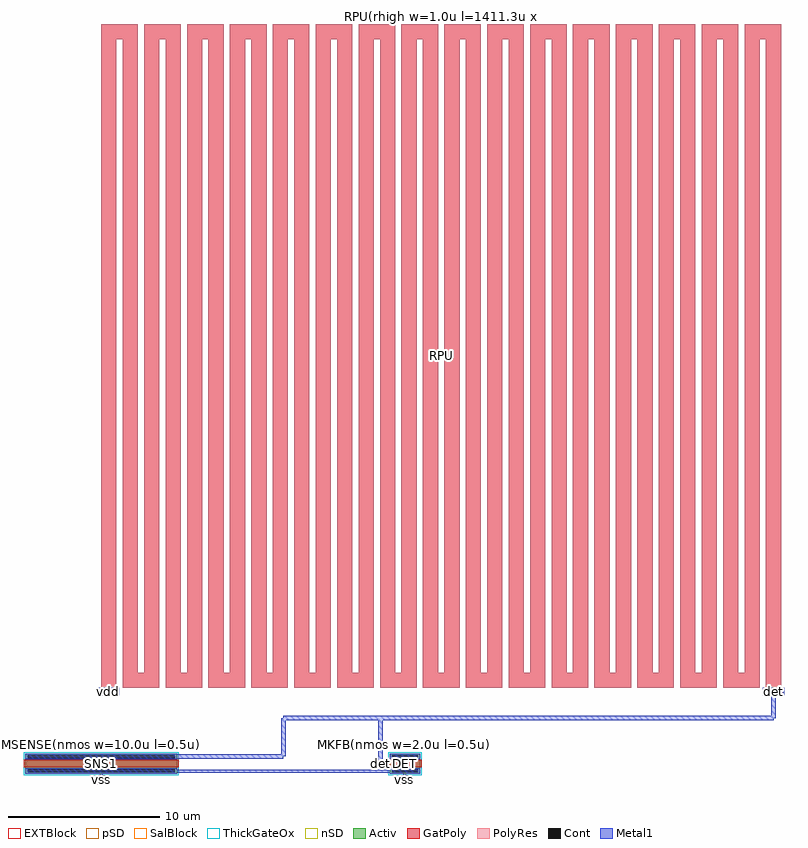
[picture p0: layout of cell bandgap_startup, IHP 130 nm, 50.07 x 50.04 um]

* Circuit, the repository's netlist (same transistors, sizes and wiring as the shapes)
** sch_path: /Users/rwalters/GitHub/sg13g2-bandgap/.loom/worktrees/issue-24/design/bandgap_startup.sch
**.subckt bandgap_startup vdd vss sns1 fb
*.iopin vdd
*.iopin vss
*.iopin sns1
*.iopin fb
XRPU vdd det sub! rhigh w=1u l=1411.3u m=1 b=0
XMSENSE det sns1 vss vss sg13_hv_nmos w=10u l=0.5u ng=1 m=1
XMKFB fb det vss vss sg13_hv_nmos w=2u l=0.5u ng=1 m=1
**.ends
.end

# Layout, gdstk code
import gdstk
lib = gdstk.Library(unit=1e-6, precision=1e-09)
def R(c, l, rs):  # rectangles x0, y0, x1, y1
    for r in rs: c.add(gdstk.rectangle(r[:2], r[2:], *l))
def A(c, l, x, y, w, h, nx, ny, dx, dy):  # array of equal rectangles
    R(c, l, [(x+i*dx, y+j*dy, x+i*dx+w, y+j*dy+h) for i in range(nx) for j in range(ny)])
Activ = (1, 0)
GatPoly = (5, 0)
Cont = (6, 0)
nSD = (7, 0)
Metal1 = (8, 0)
pSD = (14, 0)
SalBlock = (28, 0)
ThickGateOx = (44, 0)
EXTBlock = (111, 0)
PolyRes = (128, 0)

bandgap_startup = lib.new_cell('bandgap_startup')
R(bandgap_startup, Activ, [(-0.17,-1.24,0.17,-0.9), (19.83,-1.24,20.17,-0.9), (-5,-0.65,5,0.65), (19,-0.65,21,0.65)])
A(bandgap_startup, GatPoly, 0, 5, 1, 43.704, 32, 1, 1.412, 0)
A(bandgap_startup, GatPoly, 2.412, 5, 0.412, 1, 15, 1, 2.824, 0)
A(bandgap_startup, GatPoly, 1, 47.704, 0.412, 1, 16, 1, 2.824, 0)
R(bandgap_startup, GatPoly, [(-5.1,-0.25,5.1,0.25), (18.9,-0.25,21.1,0.25), (18.2,-0.17,18.9,0.17), (-0.1,4.6,1.1,5), (43.672,4.6,44.872,5)])
R(bandgap_startup, Cont, [(-0.08,-1.15,0.08,-0.99), (19.92,-1.15,20.08,-0.99), (-4.85,-0.55,4.85,-0.37), (19.15,-0.55,20.85,-0.37), (18.32,-0.08,18.48,0.08), (-4.85,0.37,4.85,0.55), (19.15,0.37,20.85,0.55), (0,4.7,1,4.9), (43.772,4.7,44.772,4.9)])
A(bandgap_startup, nSD, 0, 5, 1, 43.704, 32, 1, 1.412, 0)
A(bandgap_startup, nSD, 2.412, 5, 0.412, 1, 15, 1, 2.824, 0)
A(bandgap_startup, nSD, 1, 47.704, 0.412, 1, 16, 1, 2.824, 0)
R(bandgap_startup, Metal1, [(-0.17,-1.24,0.17,-0.9), (19.83,-1.24,20.17,-0.9), (-0.1,-0.9,0.1,-0.6), (19.9,-0.9,20.1,-0.6), (-5,-0.65,5,-0.3), (19,-0.65,21,-0.3), (-5,-0.6,21,-0.4), (18.2,-0.17,18.6,0.17), (18.25,-0.17,18.55,3), (-5,0.3,5,0.65), (19,0.3,21,0.65), (-5,0.325,12,0.625), (11.85,0.475,12.15,3), (12,2.85,44.272,3.15), (44.122,3,44.422,4.6), (-0.2,4.5,1.2,5), (43.572,4.5,44.972,5)])
A(bandgap_startup, pSD, 0, 5, 1, 43.704, 32, 1, 1.412, 0)
A(bandgap_startup, pSD, 2.412, 5, 0.412, 1, 15, 1, 2.824, 0)
A(bandgap_startup, pSD, 1, 47.704, 0.412, 1, 16, 1, 2.824, 0)
R(bandgap_startup, pSD, [(-0.27,-1.34,0.27,-0.8), (19.73,-1.34,20.27,-0.8)])
A(bandgap_startup, SalBlock, 0, 5, 1, 43.704, 32, 1, 1.412, 0)
A(bandgap_startup, SalBlock, 2.412, 5, 0.412, 1, 15, 1, 2.824, 0)
A(bandgap_startup, SalBlock, 1, 47.704, 0.412, 1, 16, 1, 2.824, 0)
R(bandgap_startup, ThickGateOx, [(-5.1,-0.75,5.1,0.75), (18.9,-0.75,21.1,0.75)])
A(bandgap_startup, EXTBlock, 0, 5, 1, 43.704, 32, 1, 1.412, 0)
A(bandgap_startup, EXTBlock, 2.412, 5, 0.412, 1, 15, 1, 2.824, 0)
A(bandgap_startup, EXTBlock, 1, 47.704, 0.412, 1, 16, 1, 2.824, 0)
A(bandgap_startup, PolyRes, 0, 5, 1, 43.704, 32, 1, 1.412, 0)
A(bandgap_startup, PolyRes, 2.412, 5, 0.412, 1, 15, 1, 2.824, 0)
A(bandgap_startup, PolyRes, 1, 47.704, 0.412, 1, 16, 1, 2.824, 0)
bandgap_startup.add(gdstk.Label('SNS1', (0,0), layer=5, texttype=1))
bandgap_startup.add(gdstk.Label('DET', (20,0), layer=5, texttype=1))
bandgap_startup.add(gdstk.Label('det', (0,0.5), layer=8, texttype=1))
bandgap_startup.add(gdstk.Label('vss', (0,-0.5), layer=8, texttype=1))
bandgap_startup.add(gdstk.Label('vss', (0,-1.07), layer=8, texttype=1))
bandgap_startup.add(gdstk.Label('fb', (20,0.5), layer=8, texttype=1))
bandgap_startup.add(gdstk.Label('vss', (20,-0.5), layer=8, texttype=1))
bandgap_startup.add(gdstk.Label('vss', (20,-1.07), layer=8, texttype=1))
bandgap_startup.add(gdstk.Label('vdd', (0.5,4.75), layer=8, texttype=1))
bandgap_startup.add(gdstk.Label('det', (44.272,4.75), layer=8, texttype=1))
bandgap_startup.add(gdstk.Label('det', (18.4,0), layer=8, texttype=1))
bandgap_startup.add(gdstk.Label('RPU', (22.386,26.852), layer=128, texttype=1))
bandgap_startup.add(gdstk.Label('MSENSE(nmos w=10.0u l=0.5u)', (0,1.25), layer=63, texttype=0))
bandgap_startup.add(gdstk.Label('MKFB(nmos w=2.0u l=0.5u)', (20,1.25), layer=63, texttype=0))
bandgap_startup.add(gdstk.Label('RPU(rhigh w=1.0u l=1411.3u x32)', (22.386,49.204), layer=63, texttype=0))
bandgap_startup.add(gdstk.Label('DET', (0,0.5), layer=8, texttype=25))
bandgap_startup.add(gdstk.Label('VSS', (0,-0.5), layer=8, texttype=25))
bandgap_startup.add(gdstk.Label('VSS', (0,-1.07), layer=8, texttype=25))
bandgap_startup.add(gdstk.Label('FB', (20,0.5), layer=8, texttype=25))
bandgap_startup.add(gdstk.Label('VSS', (20,-0.5), layer=8, texttype=25))
bandgap_startup.add(gdstk.Label('VSS', (20,-1.07), layer=8, texttype=25))
bandgap_startup.add(gdstk.Label('VDD', (0.5,4.75), layer=8, texttype=25))
bandgap_startup.add(gdstk.Label('DET', (44.272,4.75), layer=8, texttype=25))
bandgap_startup.add(gdstk.Label('DET', (18.4,0), layer=8, texttype=25))

lib.write_gds('bandgap_startup.gds')
